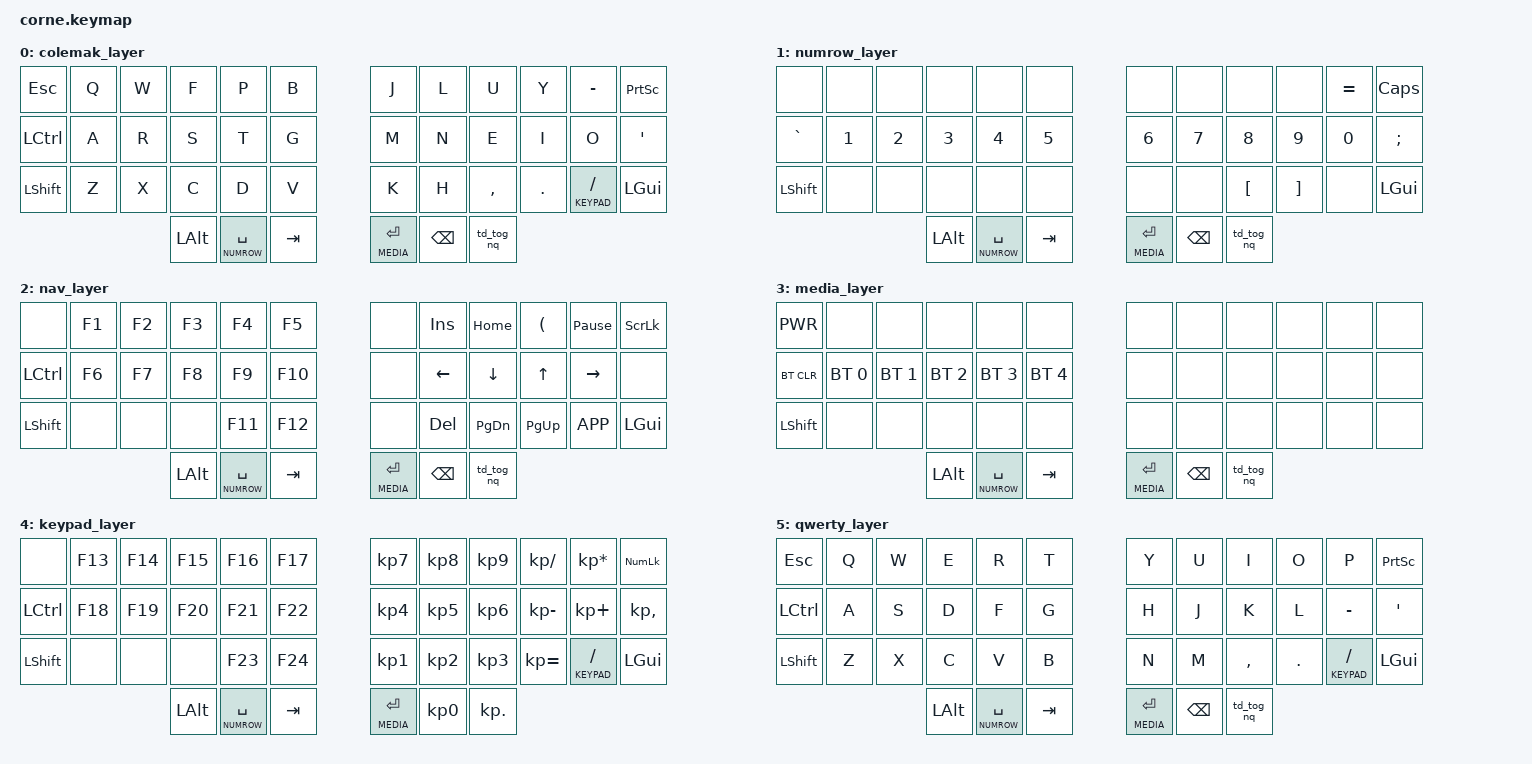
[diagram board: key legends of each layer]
/*
 * Copyright (c) 2020 The ZMK Contributors
 *
 * SPDX-License-Identifier: MIT
 */

#include <behaviors.dtsi>
#include <dt-bindings/zmk/keys.h>
#include <dt-bindings/zmk/bt.h>

#define COLEMAK 0
#define NUMROW  1
#define NAV     2
#define MEDIA   3
#define KEYPAD  4
#define QWERTY  5

/ {
    macros {
        zed_em_kay: zed_em_kay {
            label = "ZM_zed_em_kay";
            compatible = "zmk,behavior-macro";
            #binding-cells = <0>;
            wait-ms = <40>;
            tap-ms = <40>;
            bindings
                = <&macro_press   &kp LALT>
                , <&macro_tap     &kp KP_N0 &kp KP_N1 &kp KP_N6 &kp KP_N3>
                , <&macro_release &kp LALT>
                ;
        };
    };
};

/ {
        behaviors {
                td_tog_nq: tap_dance_tog_nq {
                        compatible = "zmk,behavior-tap-dance";
                        label = "TAP_DANCE_TOG_NAV_QWERTY";
                        #binding-cells = <0>;
                        tapping-term-ms = <200>;
                        bindings = <&tog NAV>, <&tog QWERTY>;
                };
        };

        keymap {
                compatible = "zmk,keymap";

                colemak_layer {
// -----------------------------------------------------------------------------------------
// |  ESC |  Q  |  W  |  F  |  P         |  B  |   |  J  |  L   |  U  |  Y  |  -         | PSCRN |
// | CTRL |  A  |  R  |  S  |  T         |  G  |   |  M  |  N   |  E  |  I  |  O         |  '    |
// | SHFT |  Z  |  X  |  C  |  D         |  V  |   |  K  |  H   |  ,  |  .  |  LT(4, /)  | GUI   |
//                    | ALT | LT(1, SPC) | TAB |   | LT(3, ENT) | BKSP  | TG(2) |
                        bindings = <
   &kp ESC   &kp Q &kp W &kp F    &kp P            &kp B         &kp J          &kp L    &kp U     &kp Y   &kp MINUS       &kp PSCRN
   &kp LCTRL &kp A &kp R &kp S    &kp T            &kp G         &kp M          &kp N    &kp E     &kp I   &kp O           &kp SQT
   &kp LSHFT &kp Z &kp X &kp C    &kp D            &kp V         &kp K          &kp H    &kp COMMA &kp DOT &lt KEYPAD FSLH &kp LGUI
                         &kp LALT &lt NUMROW SPACE &kp TAB       &lt MEDIA RET  &kp BSPC &td_tog_nq
                        >;
                };

                numrow_layer {
// -----------------------------------------------------------------------------------------
// |       |     |     |     |            |     |   |            |      |       |     | EQUAL | CAPS |
// | GRAVE |  1  |  2  |  3  |      4     |  5  |   |      6     |  7   |   8   |  9  |   0   | SEMI |
// | SHFT  |     |     |     |            |     |   |            |      |   [   |  ]  |   \   | GUI  |
//                     | ALT | LT(1, SPC) | TAB |   | LT(3, ENT) | BKSP | TG(2) |
                        bindings = <
   &none      &none   &none   &none    &none            &none         &none         &none    &none     &none     &kp EQUAL &kp CAPS
   &kp GRAVE  &kp N1  &kp N2  &kp N3   &kp N4           &kp N5        &kp N6        &kp N7   &kp N8    &kp N9    &kp N0    &kp SEMI
   &kp LSHFT  &none   &none   &none    &none            &none         &none         &none    &kp LBKT  &kp RBKT  &none     &kp LGUI
                              &kp LALT &lt NUMROW SPACE &kp TAB       &lt MEDIA RET &kp BSPC &td_tog_nq
                        >;
                };

                nav_layer {
// -----------------------------------------------------------------------------------------
// |      |  F1  |  F2  |  F3  |  F4        |  F5  |   |            |  INS  |  HOME  |  LPAR  |  PAUSE  | SLCK |
// | CTRL |  F6  |  F7  |  F8  |  F9        |  F10 |   |            |  LFT  |  DWN   |  UP    |  RGT    |      |
// | SHFT |      |      |      |  F11       |  F12 |   |            |  DEL  |  PGDN  |  PGUP  |  APP    | LGUI |
//                      | ALT  | LT(1, SPC) |  TAB |   | LT(3, ENT) | BKSP | TG(2) |
                        bindings = <
   &none     &kp F1   &kp F2   &kp F3   &kp F4           &kp F5        &none         &kp INS  &kp HOME  &kp LPAR  &kp PAUSE_BREAK &kp SLCK
   &kp LCTRL &kp F6   &kp F7   &kp F8   &kp F9           &kp F10       &none         &kp LEFT &kp DOWN  &kp UP    &kp RIGHT       &none
   &kp LSHFT &none    &none    &none    &kp F11          &kp F12       &none         &kp DEL  &kp PG_DN &kp PG_UP &kp K_APP       &kp LGUI
                    	       &kp LALT &lt NUMROW SPACE &kp TAB       &lt MEDIA RET &kp BSPC &td_tog_nq
                        >;
                };

                media_layer {
// -----------------------------------------------------------------------------------------
// | KPWR  |     |     |      |            |      |   |            |      |       |     |     |      |
// | BTCLR | BT1 | BT2 | BT3  | BT4        | BT5  |   |            |      |       |     |     |      |
// |       |     |     |      |            |      |   |            |      |       |     |     |      |
//                     | ALT  | LT(1, SPC) |  TAB |   | LT(3, ENT) | BKSP | TG(2) |
                        bindings = <
   &kp K_PWR  &none        &none        &none        &none             &none          &none         &none    &none  &none  &none  &none
   &bt BT_CLR &bt BT_SEL 0 &bt BT_SEL 1 &bt BT_SEL 2 &bt BT_SEL 3      &bt BT_SEL 4   &none         &none    &none  &none  &none  &none
   &kp LSHFT  &none        &none        &none        &none             &none          &none         &none    &none  &none  &none  &none
                          	        &kp LALT     &lt NUMROW SPACE  &kp TAB        &lt MEDIA RET &kp BSPC &td_tog_nq
                        >;
                };

                keypad_layer {
// -----------------------------------------------------------------------------------------
// |      | F13 | F14 | F15 | F16        | F17 |   |  7  |  8   |  9  |  /  |  *  | NUMLOCK |
// | CTRL | F18 | F19 | F20 | F21        | F22 |   |  4  |  5   |  6  |  -  |  +  |  ,      |
// | SHFT |     |     |     | F23        | F24 |   |  1  |  2   |  3  |  =  |  /  | ESC     |
//                    | ALT | LT(1, SPC) | TAB |   | LT(3, ENT) |  0  |  .  |
                        bindings = <
   &none      &kp F13 &kp F14  &kp F15  &kp F16          &kp F17   &kp KP_N7     &kp KP_N8 &kp KP_N9  &kp KP_SLASH    &kp KP_ASTERISK &kp KP_NUMLOCK
   &kp LCTRL  &kp F18 &kp F19  &kp F20  &kp F21          &kp F22   &kp KP_N4     &kp KP_N5 &kp KP_N6  &kp KP_SUBTRACT &kp KP_PLUS     &kp KP_COMMA
   &kp LSHFT  &none   &none    &none    &kp F23          &kp F24   &kp KP_N1     &kp KP_N2 &kp KP_N3  &kp KP_EQUAL    &lt KEYPAD FSLH &kp LGUI
                               &kp LALT &lt NUMROW SPACE &kp TAB   &lt MEDIA RET &kp KP_N0 &kp KP_DOT
                        >;
                };

                qwerty_layer {
// -----------------------------------------------------------------------------------------
// | ESC  |  Q  |  W  |  E  |  R  |  T  |   |  Y  |  U   |  I  |  O  |  P  | BKSP |
// | CTRL |  A  |  S  |  D  |  F  |  G  |   |  H  |  J   |  K  |  L  |  ;  |  '   |
// | SHFT |  Z  |  X  |  C  |  V  |  B  |   |  N  |  M   |  ,  |  .  |  /  | ESC  |
//                    | GUI | LWR | SPC |   | ENT | RSE  | ALT |
                        bindings = <
   &kp ESC   &kp Q &kp W &kp E    &kp R            &kp T         &kp Y          &kp U    &kp I     &kp O   &kp P           &kp PSCRN
   &kp LCTRL &kp A &kp S &kp D    &kp F            &kp G         &kp H          &kp J    &kp K     &kp L   &kp MINUS       &kp SQT
   &kp LSHFT &kp Z &kp X &kp C    &kp V            &kp B         &kp N          &kp M    &kp COMMA &kp DOT &lt KEYPAD FSLH &kp LGUI
                         &kp LALT &lt NUMROW SPACE &kp TAB       &lt MEDIA RET  &kp BSPC &td_tog_nq
                        >;
                };

        };
};
